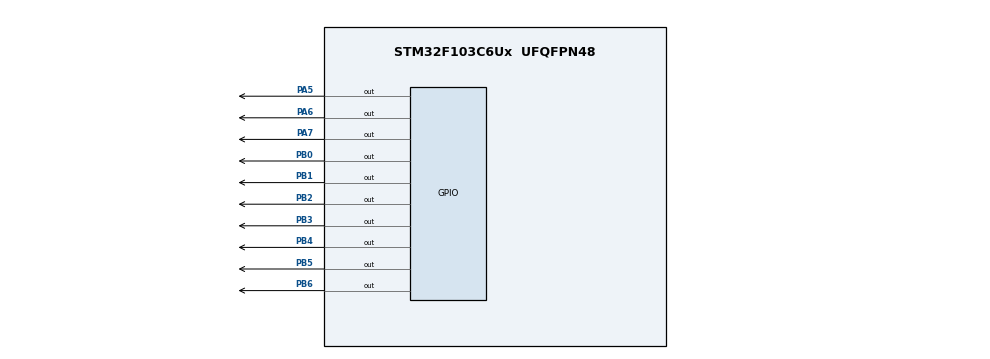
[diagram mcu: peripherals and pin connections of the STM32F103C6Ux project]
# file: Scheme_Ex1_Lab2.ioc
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Mcu.Family=STM32F1
Mcu.Name=STM32F103C6Ux
Mcu.Package=UFQFPN48
NVIC.PriorityGroup=NVIC_PRIORITYGROUP_4
NVIC.TIM2_IRQn=true\:0\:0\:false\:false\:true\:true\:true
PA13.Mode=Serial_Wire
PA13.Signal=SYS_JTMS-SWDIO
PA14.Mode=Serial_Wire
PA14.Signal=SYS_JTCK-SWCLK
PA5.Signal=GPIO_Output
PA6.Signal=GPIO_Output
PA7.Signal=GPIO_Output
PB0.Signal=GPIO_Output
PB1.Signal=GPIO_Output
PB2.Signal=GPIO_Output
PB3.Signal=GPIO_Output
PB4.Signal=GPIO_Output
PB5.Signal=GPIO_Output
PB6.Signal=GPIO_Output
ProjectManager.HeapSize=0x200
ProjectManager.StackSize=0x400
ProjectManager.TargetToolchain=STM32CubeIDE
RCC.APB1Freq_Value=8000000
RCC.APB2Freq_Value=8000000
TIM2.Period=9
TIM2.Prescaler=7999
VP_TIM2_VS_ClockSourceINT.Mode=Internal
board=custom

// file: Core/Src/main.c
/* USER CODE BEGIN Header */
/**
  ******************************************************************************
  * @file           : main.c
  * @brief          : Main program body
  ******************************************************************************
  * @attention
  *
  * Copyright (c) 2026 STMicroelectronics.
  * All rights reserved.
  *
  * This software component is licensed by ST under BSD 3-Clause license,
  * the "License"; You may not use this file except in compliance with the
  * License. You may obtain a copy of the License at:
  *                        opensource.org/licenses/BSD-3-Clause
  *
  ******************************************************************************
  */
/* USER CODE END Header */
#include "main.h"

TIM_HandleTypeDef htim2;

/* USER CODE BEGIN PV */
int time_counter = 50;
int led_state = 0; // 0: LED1 | 1: LED2
/* USER CODE END PV */

void SystemClock_Config(void);
static void MX_GPIO_Init(void);
static void MX_TIM2_Init(void);

/* USER CODE BEGIN 0 */
static const uint8_t seg_code[10] = {
    0b1000000, // 0: a,b,c,d,e,f
    0b1111001, // 1: b,c
    0b0100100, // 2: a,b,d,e,g
    0b0110000, // 3: a,b,c,d,g
    0b0011001, // 4: b,c,f,g
    0b0010010, // 5: a,c,d,f,g
    0b0000010, // 6: a,c,d,e,f,g
    0b1111000, // 7: a,b,c
    0b0000000, // 8: a,b,c,d,e,f,g
    0b0010000  // 9: a,b,c,d,f,g
};

void display7SEG(int num)
{
    if (num < 0 || num > 9) return;
    uint8_t code = seg_code[num];
    HAL_GPIO_WritePin(GPIOB, GPIO_PIN_0, (code & 0x01) ? GPIO_PIN_SET : GPIO_PIN_RESET);
    HAL_GPIO_WritePin(GPIOB, GPIO_PIN_1, (code & 0x02) ? GPIO_PIN_SET : GPIO_PIN_RESET);
    HAL_GPIO_WritePin(GPIOB, GPIO_PIN_2, (code & 0x04) ? GPIO_PIN_SET : GPIO_PIN_RESET);
    HAL_GPIO_WritePin(GPIOB, GPIO_PIN_3, (code & 0x08) ? GPIO_PIN_SET : GPIO_PIN_RESET);
    HAL_GPIO_WritePin(GPIOB, GPIO_PIN_4, (code & 0x10) ? GPIO_PIN_SET : GPIO_PIN_RESET);
    HAL_GPIO_WritePin(GPIOB, GPIO_PIN_5, (code & 0x20) ? GPIO_PIN_SET : GPIO_PIN_RESET);
    HAL_GPIO_WritePin(GPIOB, GPIO_PIN_6, (code & 0x40) ? GPIO_PIN_SET : GPIO_PIN_RESET);
}
/* USER CODE END 0 */

int main(void)
{

  /* MCU Configuration--------------------------------------------------------*/

  /* Reset of all peripherals, Initializes the Flash interface and the Systick. */
  HAL_Init();

  /* Configure the system clock */
  SystemClock_Config();

  /* Initialize all configured peripherals */
  MX_GPIO_Init();
  MX_TIM2_Init();
  /* USER CODE BEGIN 2 */
  // Khởi động Timer 2 cùng chế độ ngắt (Interrupt)
  HAL_TIM_Base_Start_IT(&htim2);
  /* USER CODE END 2 */

  /* Infinite loop */
  while (1)
  {

  }
}

void SystemClock_Config(void)
{
  RCC_OscInitTypeDef RCC_OscInitStruct = {0};
  RCC_ClkInitTypeDef RCC_ClkInitStruct = {0};

  /** Initializes the RCC Oscillators according to the specified parameters
  * in the RCC_OscInitTypeDef structure.
  */
  RCC_OscInitStruct.OscillatorType = RCC_OSCILLATORTYPE_HSI;
  RCC_OscInitStruct.HSIState = RCC_HSI_ON;
  RCC_OscInitStruct.HSICalibrationValue = RCC_HSICALIBRATION_DEFAULT;
  RCC_OscInitStruct.PLL.PLLState = RCC_PLL_NONE;
  if (HAL_RCC_OscConfig(&RCC_OscInitStruct) != HAL_OK)
  {
    Error_Handler();
  }
  /** Initializes the CPU, AHB and APB buses clocks
  */
  RCC_ClkInitStruct.ClockType = RCC_CLOCKTYPE_HCLK|RCC_CLOCKTYPE_SYSCLK
                              |RCC_CLOCKTYPE_PCLK1|RCC_CLOCKTYPE_PCLK2;
  RCC_ClkInitStruct.SYSCLKSource = RCC_SYSCLKSOURCE_HSI;
  RCC_ClkInitStruct.AHBCLKDivider = RCC_SYSCLK_DIV1;
  RCC_ClkInitStruct.APB1CLKDivider = RCC_HCLK_DIV1;
  RCC_ClkInitStruct.APB2CLKDivider = RCC_HCLK_DIV1;

  if (HAL_RCC_ClockConfig(&RCC_ClkInitStruct, FLASH_LATENCY_0) != HAL_OK)
  {
    Error_Handler();
  }
}

static void MX_TIM2_Init(void)
{

  TIM_ClockConfigTypeDef sClockSourceConfig = {0};
  TIM_MasterConfigTypeDef sMasterConfig = {0};

  htim2.Instance = TIM2;
  htim2.Init.Prescaler = 7999;
  htim2.Init.CounterMode = TIM_COUNTERMODE_UP;
  htim2.Init.Period = 9;
  htim2.Init.ClockDivision = TIM_CLOCKDIVISION_DIV1;
  htim2.Init.AutoReloadPreload = TIM_AUTORELOAD_PRELOAD_DISABLE;
  if (HAL_TIM_Base_Init(&htim2) != HAL_OK)
  {
    Error_Handler();
  }
  sClockSourceConfig.ClockSource = TIM_CLOCKSOURCE_INTERNAL;
  if (HAL_TIM_ConfigClockSource(&htim2, &sClockSourceConfig) != HAL_OK)
  {
    Error_Handler();
  }
  sMasterConfig.MasterOutputTrigger = TIM_TRGO_RESET;
  sMasterConfig.MasterSlaveMode = TIM_MASTERSLAVEMODE_DISABLE;
  if (HAL_TIMEx_MasterConfigSynchronization(&htim2, &sMasterConfig) != HAL_OK)
  {
    Error_Handler();
  }
  /* USER CODE BEGIN TIM2_Init 2 */
  /* Bật ngắt phần cứng NVIC cho TIM2 để không bị crash Proteus */
  HAL_NVIC_SetPriority(TIM2_IRQn, 0, 0);
  HAL_NVIC_EnableIRQ(TIM2_IRQn);
  /* USER CODE END TIM2_Init 2 */

}

static void MX_GPIO_Init(void)
{
  GPIO_InitTypeDef GPIO_InitStruct = {0};

  /* GPIO Ports Clock Enable */
  __HAL_RCC_GPIOA_CLK_ENABLE();
  __HAL_RCC_GPIOB_CLK_ENABLE();

  /*Configure GPIO pin Output Level: PA6, PA7 ở mức 1 để tắt Transistor ban đầu */
  HAL_GPIO_WritePin(GPIOA, GPIO_PIN_5, GPIO_PIN_RESET);
  HAL_GPIO_WritePin(GPIOA, GPIO_PIN_6|GPIO_PIN_7, GPIO_PIN_SET);

  /*Configure GPIO pin Output Level: PB0..PB6 ở mức 1 để tắt các đoạn LED 7 đoạn ban đầu */
  HAL_GPIO_WritePin(GPIOB, GPIO_PIN_0|GPIO_PIN_1|GPIO_PIN_2|GPIO_PIN_3
                          |GPIO_PIN_4|GPIO_PIN_5|GPIO_PIN_6, GPIO_PIN_SET);

  /*Configure GPIO pins : PA5 PA6 PA7 */
  GPIO_InitStruct.Pin = GPIO_PIN_5|GPIO_PIN_6|GPIO_PIN_7;
  GPIO_InitStruct.Mode = GPIO_MODE_OUTPUT_PP;
  GPIO_InitStruct.Pull = GPIO_NOPULL;
  GPIO_InitStruct.Speed = GPIO_SPEED_FREQ_LOW;
  HAL_GPIO_Init(GPIOA, &GPIO_InitStruct);

  /*Configure GPIO pins : PB0 PB1 PB2 PB3
                           PB4 PB5 PB6 */
  GPIO_InitStruct.Pin = GPIO_PIN_0|GPIO_PIN_1|GPIO_PIN_2|GPIO_PIN_3
                          |GPIO_PIN_4|GPIO_PIN_5|GPIO_PIN_6;
  GPIO_InitStruct.Mode = GPIO_MODE_OUTPUT_PP;
  GPIO_InitStruct.Pull = GPIO_NOPULL;
  GPIO_InitStruct.Speed = GPIO_SPEED_FREQ_LOW;
  HAL_GPIO_Init(GPIOB, &GPIO_InitStruct);

}

/* USER CODE BEGIN 4 */
void HAL_TIM_PeriodElapsedCallback(TIM_HandleTypeDef *htim)
{
  if (htim->Instance == TIM2)
  {
    time_counter--;
    if (time_counter <= 0)
    {
      time_counter = 50; // Chu kỳ quét 50 * 10ms = 500ms

      if (led_state == 0) {
        // Tắt LED 2 trước (PA7 = 1), hiển thị số 1, sau đó bật LED 1 (PA6 = 0)
        HAL_GPIO_WritePin(GPIOA, GPIO_PIN_7, GPIO_PIN_SET);
        display7SEG(1);
        HAL_GPIO_WritePin(GPIOA, GPIO_PIN_6, GPIO_PIN_RESET);
        led_state = 1;
      }
      else {
        // Tắt LED 1 trước (PA6 = 1), hiển thị số 2, sau đó bật LED 2 (PA7 = 0)
        HAL_GPIO_WritePin(GPIOA, GPIO_PIN_6, GPIO_PIN_SET);
        display7SEG(2);
        HAL_GPIO_WritePin(GPIOA, GPIO_PIN_7, GPIO_PIN_RESET);
        led_state = 0;
      }

      HAL_GPIO_TogglePin(GPIOA, GPIO_PIN_5); // Đảo trạng thái LED PA5
    }
  }
}
/* USER CODE END 4 */

void Error_Handler(void)
{
  __disable_irq();
  while (1)
  {
  }
}

/************************ (C) COPYRIGHT STMicroelectronics *****END OF FILE****/
